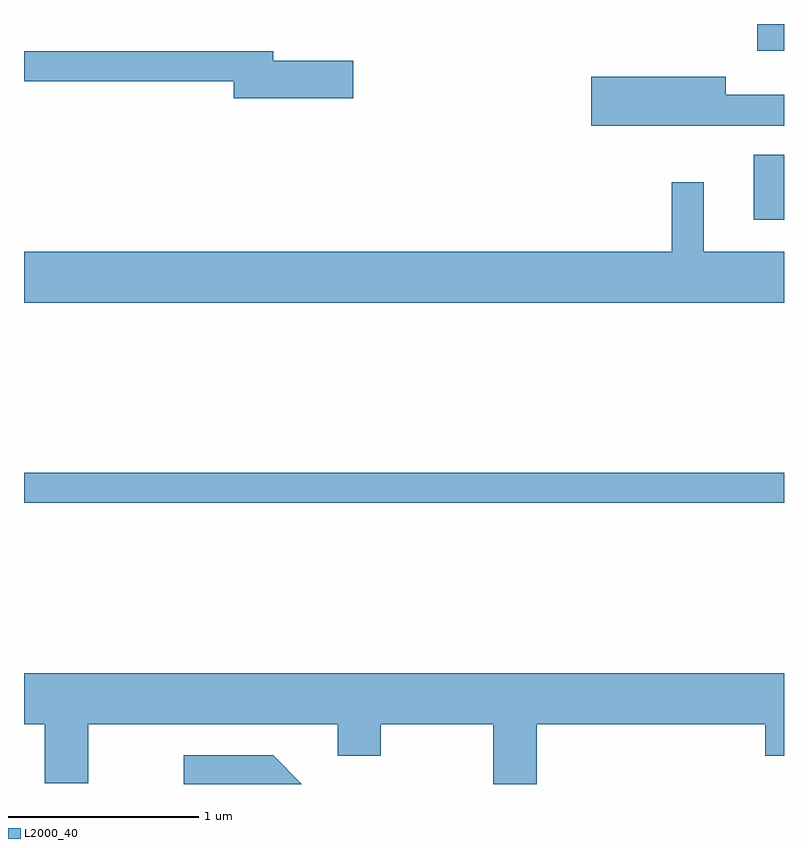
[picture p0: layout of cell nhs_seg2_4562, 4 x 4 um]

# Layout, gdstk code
import gdstk
lib = gdstk.Library(unit=1e-6, precision=1e-09)
def R(c, l, rs):  # rectangles x0, y0, x1, y1
    for r in rs: c.add(gdstk.rectangle(r[:2], r[2:], *l))
def P(c, l, *ps):  # polygons
    for p in ps: c.add(gdstk.Polygon(p, *l))
L2000_40 = (2000, 40)

nhs_seg2_4562 = lib.new_cell('nhs_seg2_4562')
R(nhs_seg2_4562, L2000_40, [(319.611,1027.281,323.611,1027.439), (323.451,1028.771,323.611,1029.114), (323.471,1029.661,323.611,1029.802)])
P(nhs_seg2_4562, L2000_40, [(321.344,1029.609),(320.924,1029.609),(320.924,1029.659),(319.611,1029.659),(319.611,1029.501),(320.716,1029.501),(320.716,1029.411),(321.344,1029.411)],
  [(323.611,1029.429),(323.304,1029.429),(323.304,1029.524),(322.596,1029.524),(322.596,1029.266),(323.611,1029.266)],
  [(323.611,1028.604),(323.189,1028.604),(323.189,1028.968),(323.021,1028.968),(323.021,1028.604),(319.611,1028.604),(319.611,1028.336),(323.611,1028.336)],
  [(319.611,1026.116),(319.721,1026.116),(319.721,1025.806),(319.949,1025.806),(319.949,1026.116),(321.261,1026.116),(321.261,1025.951),(321.489,1025.951),(321.489,1026.116),(322.081,1026.116),(322.081,1025.802),(322.309,1025.802),(322.309,1026.116),(323.511,1026.116),(323.511,1025.951),(323.611,1025.951),(323.611,1026.384),(319.611,1026.384)],
  [(320.922,1025.954),(320.453,1025.954),(320.453,1025.802),(321.074,1025.802)])

lib.write_gds('nhs_seg2_4562.gds')
